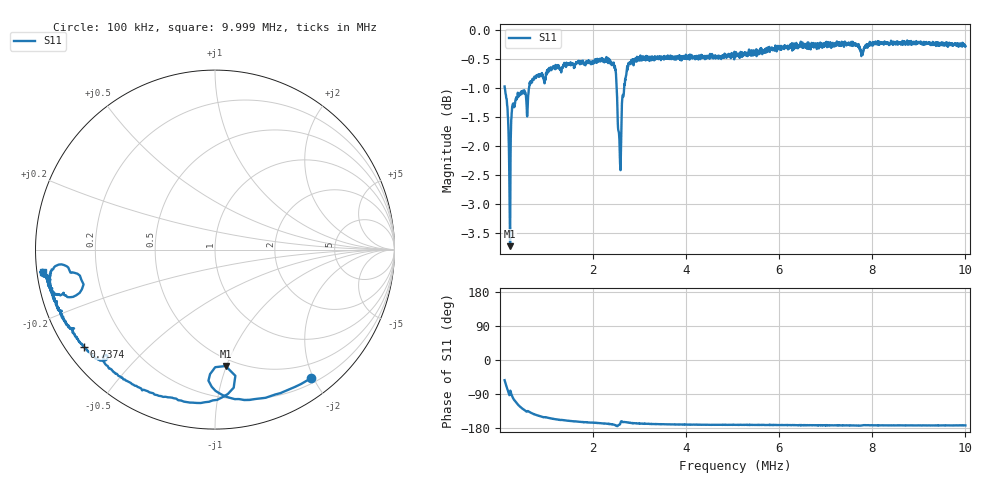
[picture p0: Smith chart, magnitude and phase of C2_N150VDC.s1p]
# HZ S RI R 50
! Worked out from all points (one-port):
!   2020 points, 100 kHz to 9.999 MHz, reference 50 ohm
!   lowest |S11| = -3.7 dB at 217.7 kHz (marker M1), VSWR 4.74, Z = 22 - j49.7 ohm
!   |S11| at or under -10 dB: nowhere
!   S11 on the Smith chart (normalised r, x): 100 kHz: 0.27, -1.96; 737.4 kHz: 0.05, -0.33; 9.999 MHz: 0.02, -0.06
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100000  0.5346 -0.7167
144127  0.2816 -0.8258
168642  0.1337 -0.8327
217672  0.0589 -0.6487
266702  -0.1006 -0.8544
291217  -0.1882 -0.8411
350053  -0.3374 -0.8076
433404  -0.4832 -0.7363
521658  -0.5895 -0.6634
737390  -0.7311 -0.5404
933510  -0.7919 -0.4447
1340459  -0.8628 -0.343
1732699  -0.8976 -0.2693
2428925  -0.9199 -0.1602
2473052  -0.9195 -0.1341
2526985  -0.8403 -0.0864
2576015  -0.7663 -0.1345
2649560  -0.8419 -0.2433
2723105  -0.8856 -0.2512
2811359  -0.9101 -0.223
3252629  -0.9259 -0.185
3816474  -0.9359 -0.1614
5052030  -0.9439 -0.1452
6287586  -0.9587 -0.1379
7528045  -0.9649 -0.1251
7787904  -0.9446 -0.129
8763601  -0.9666 -0.1251
9999157  -0.9601 -0.1241
